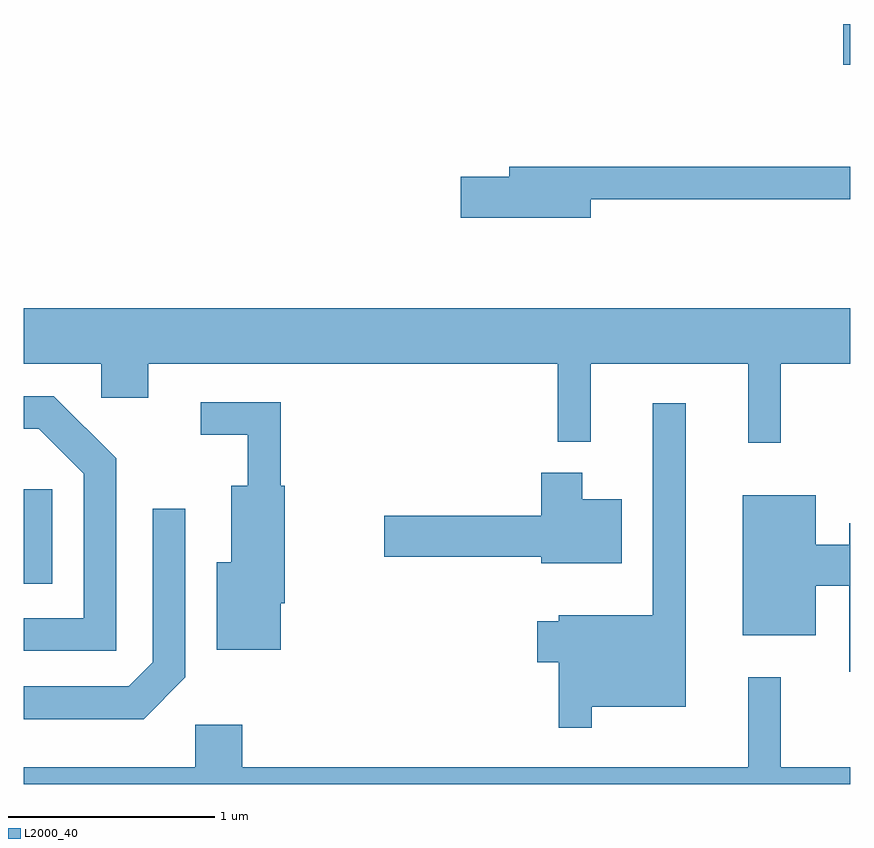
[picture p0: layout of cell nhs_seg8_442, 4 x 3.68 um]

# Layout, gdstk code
import gdstk
lib = gdstk.Library(unit=1e-6, precision=1e-09)
def R(c, l, rs):  # rectangles x0, y0, x1, y1
    for r in rs: c.add(gdstk.rectangle(r[:2], r[2:], *l))
def P(c, l, *ps):  # polygons
    for p in ps: c.add(gdstk.Polygon(p, *l))
L2000_40 = (2000, 40)

nhs_seg8_442 = lib.new_cell('nhs_seg8_442')
R(nhs_seg8_442, L2000_40, [(197.611,1875.311,197.749,1875.769), (201.576,1877.821,201.611,1878.019)])
P(nhs_seg8_442, L2000_40, [(200.354,1877.171),(201.611,1877.171),(201.611,1877.329),(199.961,1877.329),(199.961,1877.279),(199.726,1877.279),(199.726,1877.081),(200.354,1877.081)],
  [(201.274,1876.376),(201.611,1876.376),(201.611,1876.644),(197.611,1876.644),(197.611,1876.376),(197.986,1876.376),(197.986,1876.211),(198.214,1876.211),(198.214,1876.376),(200.196,1876.376),(200.196,1875.998),(200.354,1875.998),(200.354,1876.376),(201.116,1876.376),(201.116,1875.993),(201.274,1875.993)],
  [(198.059,1875.917),(197.757,1876.219),(197.611,1876.219),(197.611,1876.061),(197.684,1876.061),(197.901,1875.844),(197.901,1875.144),(197.611,1875.144),(197.611,1874.986),(198.059,1874.986)],
  [(198.854,1875.216),(198.874,1875.216),(198.874,1875.784),(198.854,1875.784),(198.854,1876.189),(198.468,1876.189),(198.468,1876.031),(198.696,1876.031),(198.696,1875.784),(198.616,1875.784),(198.616,1875.414),(198.546,1875.414),(198.546,1874.991),(198.854,1874.991)],
  [(200.359,1874.716),(200.814,1874.716),(200.814,1876.183),(200.656,1876.183),(200.656,1875.159),(200.201,1875.159),(200.201,1875.129),(200.096,1875.129),(200.096,1874.931),(200.201,1874.931),(200.201,1874.613),(200.359,1874.613)],
  [(200.504,1875.719),(200.314,1875.719),(200.314,1875.849),(200.116,1875.849),(200.116,1875.639),(199.356,1875.639),(199.356,1875.441),(200.116,1875.441),(200.116,1875.411),(200.504,1875.411)],
  [(201.611,1875.604),(201.606,1875.604),(201.606,1875.499),(201.444,1875.499),(201.444,1875.739),(201.091,1875.739),(201.091,1875.061),(201.444,1875.061),(201.444,1875.301),(201.606,1875.301),(201.606,1874.886),(201.611,1874.886)],
  [(198.394,1874.859),(198.394,1875.673),(198.236,1875.673),(198.236,1874.932),(198.119,1874.814),(197.611,1874.814),(197.611,1874.656),(198.192,1874.656)],
  [(201.611,1874.424),(201.274,1874.424),(201.274,1874.858),(201.116,1874.858),(201.116,1874.424),(198.669,1874.424),(198.669,1874.629),(198.441,1874.629),(198.441,1874.424),(197.611,1874.424),(197.611,1874.342),(201.611,1874.342)])

lib.write_gds('nhs_seg8_442.gds')
